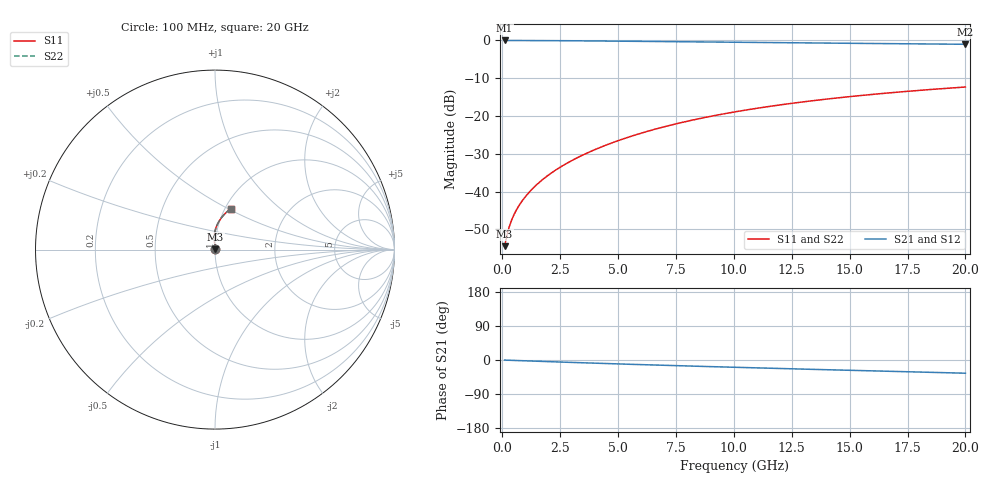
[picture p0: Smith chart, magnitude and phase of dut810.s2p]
! Touchstone file exported from HFSS 2024.1.0
!  File:  C:/UserFiles/LocalFiles/RDL_TSV_Batchsim/temp_RDL_bottom_810_1779862322.aedt
!  Generated:  02:14:11 PM May 27, 2026
!  Design:  RDL_bottom
!  Project:  temp_RDL_bottom_810_1779862322
!  Setup:  Setup1
!  Solution:  Sweep
! Variables:
!  dtsv = 10.80580581um
!  hbump = 3um
!  htsv = 97.12um
!  ldown = 544.92um
!  lrdl = 100um
!  p = 40
!  p1 = 48.26um
!  rhole = 1um
!  t = 450um
!  tdown = 4.89um
!  trdl = 3.915915916um
!  wdown = 28.83um
!  wrdl = 20um
# GHz S MA R 50.000000
! Terminal data exported
! Port[1] = RDL1_T1
! Port[2] = RDL1_T2
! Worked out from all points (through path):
!   200 points, 100 MHz to 20 GHz, reference 50 ohm
!   highest |S21| = -0.01 dB at 100 MHz (marker M1); lowest = -1.0 dB at 20 GHz (marker M2)
!   group delay of S21, straight-line fit = 4.76 ps
!   lowest |S11| = -54.4 dB at 100 MHz (marker M3), VSWR 1.00, Z = 50.2 + j0.103 ohm
!   |S11| at or under -10 dB: start of sweep to end of sweep
!   |S22| runs from -54.4 to -12.3 dB; largest |S21 - S12| = 2e-15
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0.1  0.001901 32.7  0.9984 -0.2  0.9984 -0.2  0.001901 32.7
! Gamma 0 0 0 0
! Port Impedance 50 0 50 0
0.2  0.002634 49.1  0.9982 -0.5  0.9982 -0.5  0.002633 49.1
0.3  0.003423 57.0  0.998 -0.7  0.998 -0.7  0.003423 57.0
0.4  0.004189 61.8  0.9978 -0.9  0.9978 -0.9  0.004189 61.8
0.5  0.00493 65.3  0.9976 -1.1  0.9976 -1.1  0.004929 65.3
0.6  0.005658 68.2  0.9975 -1.3  0.9975 -1.3  0.005657 68.2
0.8  0.007113 72.8  0.9971 -1.8  0.9971 -1.8  0.007112 72.8
1.1  0.009354 77.9  0.9965 -2.4  0.9965 -2.4  0.009354 77.9
1.6  0.0133 83.5  0.9952 -3.5  0.9952 -3.5  0.0133 83.5
2.1  0.0175 87.2  0.9934 -4.5  0.9934 -4.5  0.0175 87.2
2.7  0.0229 90.2  0.9908 -5.8  0.9908 -5.8  0.02291 90.2
3.5  0.03073 92.7  0.9867 -7.4  0.9867 -7.4  0.03073 92.7
4.2  0.03814 93.9  0.9826 -8.8  0.9826 -8.8  0.03815 93.9
5  0.04723 94.5  0.9776 -10.4  0.9776 -10.4  0.04725 94.5
5.9  0.05812 94.4  0.9717 -12.0  0.9717 -12.0  0.05814 94.4
6.8  0.06958 93.7  0.9657 -13.7  0.9657 -13.7  0.06961 93.7
8.4  0.09092 91.5  0.9551 -16.5  0.9551 -16.5  0.09096 91.5
10.1  0.1143 88.5  0.9443 -19.3  0.9443 -19.3  0.1143 88.5
11.7  0.1363 85.3  0.9346 -22.0  0.9346 -22.0  0.1364 85.4
13.4  0.1594 81.9  0.9246 -24.7  0.9246 -24.7  0.1594 81.9
16.7  0.2023 75.3  0.9063 -29.8  0.9063 -29.8  0.2024 75.3
20  0.2419 69.1  0.8888 -34.9  0.8888 -34.9  0.2421 69.1
